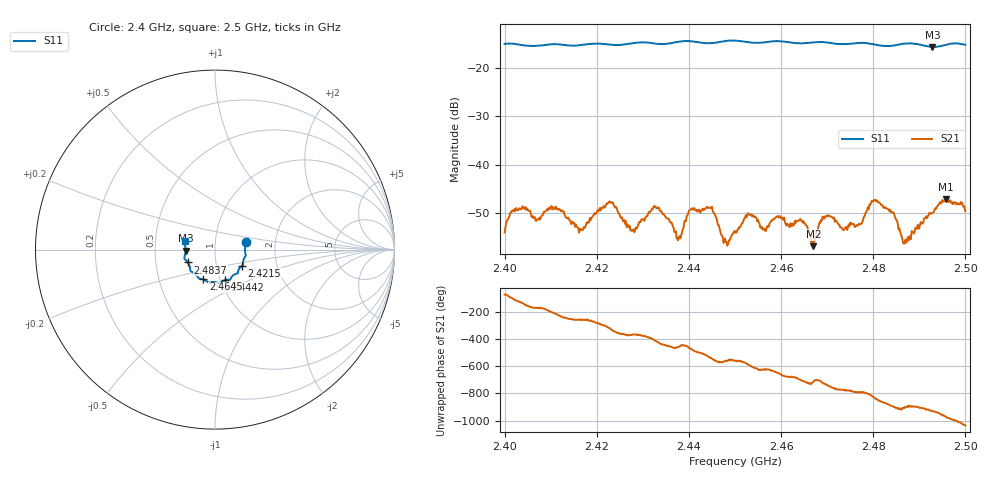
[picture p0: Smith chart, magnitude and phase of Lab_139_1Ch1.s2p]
# Hz S RI R 50
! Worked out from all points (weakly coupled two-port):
!   601 points, 2.4 GHz to 2.5 GHz, reference 50 ohm
!   highest |S21| = -47.17 dB at 2.4958 GHz (marker M1); lowest = -56.9 dB at 2.467 GHz (marker M2)
!   lowest |S11| = -15.7 dB at 2.4928 GHz (marker M3), VSWR 1.39, Z = 36 - j0.377 ohm
!   |S11| at or under -10 dB: start of sweep to end of sweep
!   S12 and S22 are empty: the file has one direction only
!   S11 on the Smith chart (normalised r, x): 2.4 GHz: 1.41, +0.12; 2.4215 GHz: 1.33, -0.25; 2.4442 GHz: 1.05, -0.37; 2.4645 GHz: 0.83, -0.29; 2.4837 GHz: 0.73, -0.11; 2.5 GHz: 0.71, +0.07
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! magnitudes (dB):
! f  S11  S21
! 2.4 GHz  -15.1  -54.0
! 2.4107 GHz  -15.1  -48.8
! 2.4167 GHz  -15.3  -53.5
! 2.4215 GHz  -15.1  -48.6
! 2.4278 GHz  -14.9  -53.6
! 2.4333 GHz  -15.1  -48.9
! 2.4378 GHz  -14.6  -54.9
! 2.4403 GHz  -14.5  -49.3
! 2.4442 GHz  -15.0  -48.8
! 2.448 GHz  -14.5  -56.0
! 2.45 GHz  -14.4  -54.1
! 2.4528 GHz  -14.7  -50.1
! 2.4645 GHz  -15.0  -51.7
! 2.4667 GHz  -14.8  -56.3
! 2.467 GHz  -14.8  -56.9
! 2.4695 GHz  -14.7  -50.7
! 2.4833 GHz  -15.6  -49.3
! 2.4837 GHz  -15.5  -49.3
! 2.4868 GHz  -15.0  -56.2
! 2.4928 GHz  -15.7  -50.0
! 2.4958 GHz  -15.3  -47.2
! 2.5 GHz  -15.3  -49.7
